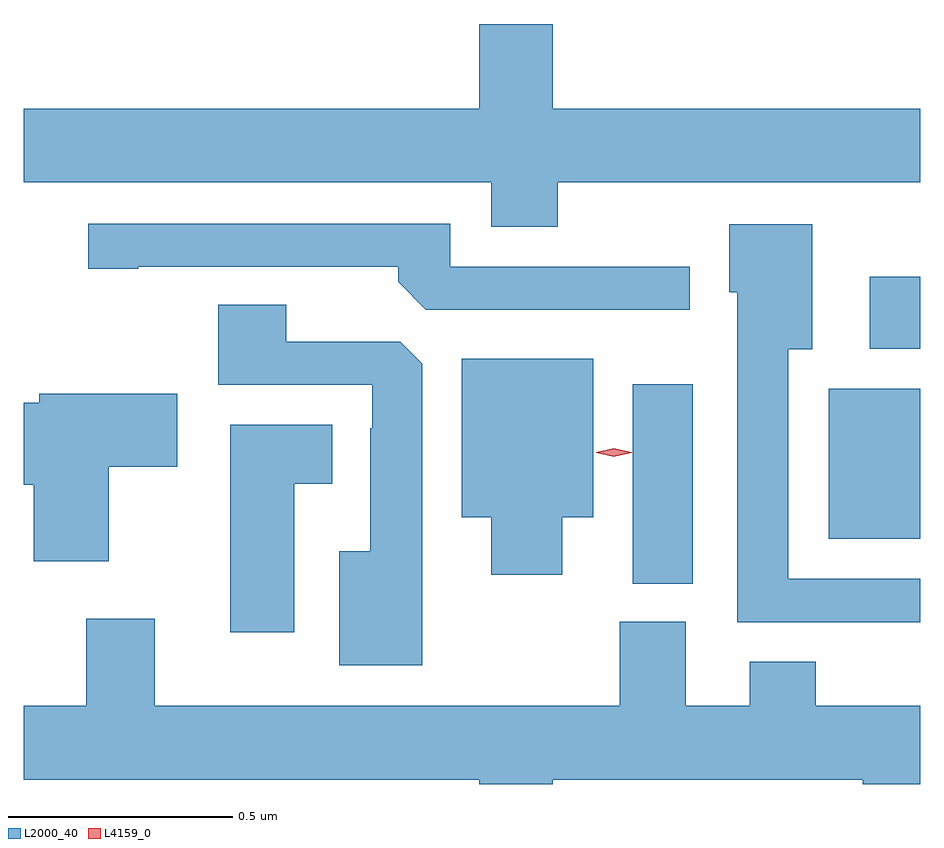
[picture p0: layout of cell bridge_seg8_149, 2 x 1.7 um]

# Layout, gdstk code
import gdstk
lib = gdstk.Library(unit=1e-6, precision=1e-09)
def R(c, l, rs):  # rectangles x0, y0, x1, y1
    for r in rs: c.add(gdstk.rectangle(r[:2], r[2:], *l))
def P(c, l, *ps):  # polygons
    for p in ps: c.add(gdstk.Polygon(p, *l))
L2000_40 = (2000, 40)
L4159_0 = (4159, 0)

bridge_seg8_149 = lib.new_cell('bridge_seg8_149')
R(bridge_seg8_149, L2000_40, [(513.002,1148.905,513.136,1149.349), (513.44,1149.005,513.644,1149.34), (513.531,1149.429,513.644,1149.589)])
P(bridge_seg8_149, L2000_40, [(512.835,1149.8),(513.644,1149.8),(513.644,1149.964),(512.824,1149.964),(512.824,1150.153),(512.66,1150.153),(512.66,1149.964),(511.644,1149.964),(511.644,1149.8),(512.687,1149.8),(512.687,1149.701),(512.835,1149.701)],
  [(513.13,1149.612),(512.595,1149.612),(512.595,1149.708),(511.788,1149.708),(511.788,1149.607),(511.9,1149.607),(511.9,1149.612),(512.48,1149.612),(512.48,1149.578),(512.541,1149.516),(513.13,1149.516)],
  [(513.644,1148.916),(513.349,1148.916),(513.349,1149.428),(513.403,1149.428),(513.403,1149.706),(513.218,1149.706),(513.218,1149.555),(513.236,1149.555),(513.236,1148.819),(513.644,1148.819)],
  [(512.533,1149.395),(512.484,1149.444),(512.23,1149.444),(512.23,1149.527),(512.078,1149.527),(512.078,1149.348),(512.421,1149.348),(512.421,1149.251),(512.417,1149.251),(512.417,1148.977),(512.348,1148.977),(512.348,1148.723),(512.533,1148.723)],
  [(512.845,1149.053),(512.914,1149.053),(512.914,1149.406),(512.621,1149.406),(512.621,1149.053),(512.687,1149.053),(512.687,1148.925),(512.845,1148.925)],
  [(511.834,1149.166),(511.987,1149.166),(511.987,1149.328),(511.679,1149.328),(511.679,1149.308),(511.644,1149.308),(511.644,1149.125),(511.667,1149.125),(511.667,1148.955),(511.834,1148.955)],
  [(512.248,1149.128),(512.332,1149.128),(512.332,1149.259),(512.105,1149.259),(512.105,1148.796),(512.248,1148.796)],
  [(512.824,1148.468),(513.515,1148.468),(513.515,1148.458),(513.644,1148.458),(513.644,1148.632),(513.411,1148.632),(513.411,1148.731),(513.263,1148.731),(513.263,1148.632),(513.121,1148.632),(513.121,1148.82),(512.974,1148.82),(512.974,1148.632),(511.936,1148.632),(511.936,1148.827),(511.784,1148.827),(511.784,1148.632),(511.644,1148.632),(511.644,1148.468),(512.66,1148.468),(512.66,1148.458),(512.824,1148.458)])
P(bridge_seg8_149, L4159_0, [(512.96,1149.188),(512.921,1149.197),(512.921,1149.197),(512.921,1149.198),(512.96,1149.207),(513,1149.198),(513,1149.198),(513,1149.197)])

lib.write_gds('bridge_seg8_149.gds')
